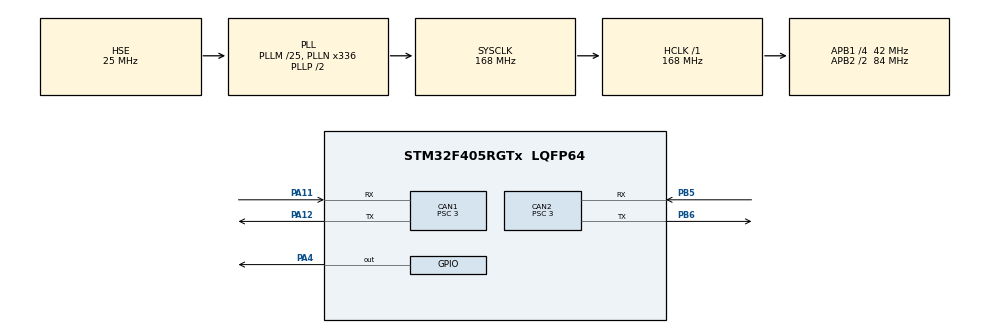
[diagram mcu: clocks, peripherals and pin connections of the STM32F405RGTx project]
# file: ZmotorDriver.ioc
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CAN1.BS1=CAN_BS1_9TQ
CAN1.BS2=CAN_BS2_4TQ
CAN1.CalculateBaudRate=1000000
CAN1.CalculateTimeBit=1000
CAN1.CalculateTimeQuantum=71.42857142857143
CAN1.Prescaler=3
CAN2.BS1=CAN_BS1_9TQ
CAN2.BS2=CAN_BS2_4TQ
CAN2.CalculateBaudRate=1000000
CAN2.CalculateTimeBit=1000
CAN2.CalculateTimeQuantum=71.42857142857143
CAN2.Prescaler=3
FREERTOS.Tasks01=defaultTask,24,128,StartDefaultTask,Default,NULL,Dynamic,NULL,NULL
Mcu.Family=STM32F4
Mcu.Name=STM32F405RGTx
Mcu.Package=LQFP64
NVIC.CAN1_RX0_IRQn=true\:5\:0\:false\:false\:true\:true\:true\:true\:true
NVIC.CAN1_RX1_IRQn=true\:5\:0\:false\:false\:true\:true\:true\:true\:true
NVIC.CAN1_SCE_IRQn=true\:5\:0\:false\:false\:true\:true\:true\:true\:true
NVIC.CAN1_TX_IRQn=true\:5\:0\:false\:false\:true\:true\:true\:true\:true
NVIC.CAN2_RX0_IRQn=true\:5\:0\:false\:false\:true\:true\:true\:true\:true
NVIC.CAN2_RX1_IRQn=true\:5\:0\:false\:false\:true\:true\:true\:true\:true
NVIC.CAN2_SCE_IRQn=true\:5\:0\:false\:false\:true\:true\:true\:true\:true
NVIC.CAN2_TX_IRQn=true\:5\:0\:false\:false\:true\:true\:true\:true\:true
NVIC.PriorityGroup=NVIC_PRIORITYGROUP_4
NVIC.TIM5_IRQn=true\:15\:0\:false\:false\:true\:false\:false\:true\:true
NVIC.TIM8_BRK_TIM12_IRQn=true\:5\:0\:false\:false\:true\:true\:true\:true\:true
NVIC.TIM8_CC_IRQn=true\:5\:0\:false\:false\:true\:true\:true\:true\:true
NVIC.TIM8_TRG_COM_TIM14_IRQn=true\:5\:0\:false\:false\:true\:true\:true\:true\:true
NVIC.TIM8_UP_TIM13_IRQn=true\:5\:0\:false\:false\:true\:true\:true\:true\:true
NVIC.TimeBase=TIM5_IRQn
NVIC.TimeBaseIP=TIM5
PA11.Mode=CAN_Activate
PA11.Signal=CAN1_RX
PA12.Mode=CAN_Activate
PA12.Signal=CAN1_TX
PA13.Mode=Serial_Wire
PA13.Signal=SYS_JTMS-SWDIO
PA14.Mode=Serial_Wire
PA14.Signal=SYS_JTCK-SWCLK
PA4.Signal=GPIO_Output
PB5.Mode=CAN_Activate
PB5.Signal=CAN2_RX
PB6.Mode=CAN_Activate
PB6.Signal=CAN2_TX
PH0-OSC_IN.Mode=HSE-External-Oscillator
PH0-OSC_IN.Signal=RCC_OSC_IN
PH1-OSC_OUT.Mode=HSE-External-Oscillator
PH1-OSC_OUT.Signal=RCC_OSC_OUT
ProjectManager.HeapSize=0x200
ProjectManager.StackSize=0x400
ProjectManager.TargetToolchain=MDK-ARM V5.32
RCC.48MHZClocksFreq_Value=84000000
RCC.AHBFreq_Value=168000000
RCC.APB1CLKDivider=RCC_HCLK_DIV4
RCC.APB1Freq_Value=42000000
RCC.APB1TimFreq_Value=84000000
RCC.APB2CLKDivider=RCC_HCLK_DIV2
RCC.APB2Freq_Value=84000000
RCC.APB2TimFreq_Value=168000000
RCC.CortexFreq_Value=168000000
RCC.HCLKFreq_Value=168000000
RCC.HSE_VALUE=25000000
RCC.HSI_VALUE=16000000
RCC.LSE_VALUE=32768
RCC.PLLM=25
RCC.PLLN=336
RCC.PLLSourceVirtual=RCC_PLLSOURCE_HSE
RCC.SYSCLKFreq_VALUE=168000000
RCC.SYSCLKSource=RCC_SYSCLKSOURCE_PLLCLK
RCC.VCOOutputFreq_Value=336000000
TIM8.Period=999
TIM8.Prescaler=167
VP_FREERTOS_VS_CMSIS_V2.Mode=CMSIS_V2
VP_SYS_VS_tim5.Mode=TIM5
VP_TIM8_VS_ClockSourceINT.Mode=Internal
board=custom

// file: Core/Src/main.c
/* USER CODE BEGIN Header */
/**
 ******************************************************************************
 * @file           : main.c
 * @brief          : Main program body
 ******************************************************************************
 * @attention
 *
 * Copyright (c) 2025 STMicroelectronics.
 * All rights reserved.
 *
 * This software is licensed under terms that can be found in the LICENSE file
 * in the root directory of this software component.
 * If no LICENSE file comes with this software, it is provided AS-IS.
 *
 ******************************************************************************
 */
/* USER CODE END Header */
#include "main.h"
#include "cmsis_os.h"
#include "can.h"
#include "tim.h"
#include "gpio.h"

/* USER CODE BEGIN Includes */
#include "zmotor.h"
#include "zcancommand.h"
#include "canqueue.h"
/* USER CODE END Includes */

void SystemClock_Config(void);
void MX_FREERTOS_Init(void);
/* USER CODE BEGIN PFP */
void LED_Pop()
{
  HAL_GPIO_TogglePin(GPIOA, GPIO_PIN_4);
}
/* USER CODE END PFP */

int main(void)
{

  /* MCU Configuration--------------------------------------------------------*/

  /* Reset of all peripherals, Initializes the Flash interface and the Systick. */
  HAL_Init();

  /* Configure the system clock */
  SystemClock_Config();

  /* Initialize all configured peripherals */
  MX_GPIO_Init();
  MX_CAN1_Init();
  MX_CAN2_Init();
  MX_TIM8_Init();
  /* USER CODE BEGIN 2 */
  ZMotor_init(zmotorp, 1);

  /* USER CODE END 2 */

  /* Init scheduler */
  osKernelInitialize(); /* Call init function for freertos objects (in cmsis_os2.c) */
  MX_FREERTOS_Init();

  /* Start scheduler */
  osKernelStart();

  /* We should never get here as control is now taken by the scheduler */

  /* Infinite loop */
  while (1)
  {

  }
}

void SystemClock_Config(void)
{
  RCC_OscInitTypeDef RCC_OscInitStruct = {0};
  RCC_ClkInitTypeDef RCC_ClkInitStruct = {0};

  /** Configure the main internal regulator output voltage
   */
  __HAL_RCC_PWR_CLK_ENABLE();
  __HAL_PWR_VOLTAGESCALING_CONFIG(PWR_REGULATOR_VOLTAGE_SCALE1);

  /** Initializes the RCC Oscillators according to the specified parameters
   * in the RCC_OscInitTypeDef structure.
   */
  RCC_OscInitStruct.OscillatorType = RCC_OSCILLATORTYPE_HSE;
  RCC_OscInitStruct.HSEState = RCC_HSE_ON;
  RCC_OscInitStruct.PLL.PLLState = RCC_PLL_ON;
  RCC_OscInitStruct.PLL.PLLSource = RCC_PLLSOURCE_HSE;
  RCC_OscInitStruct.PLL.PLLM = 25;
  RCC_OscInitStruct.PLL.PLLN = 336;
  RCC_OscInitStruct.PLL.PLLP = RCC_PLLP_DIV2;
  RCC_OscInitStruct.PLL.PLLQ = 4;
  if (HAL_RCC_OscConfig(&RCC_OscInitStruct) != HAL_OK)
  {
    Error_Handler();
  }

  /** Initializes the CPU, AHB and APB buses clocks
   */
  RCC_ClkInitStruct.ClockType = RCC_CLOCKTYPE_HCLK | RCC_CLOCKTYPE_SYSCLK | RCC_CLOCKTYPE_PCLK1 | RCC_CLOCKTYPE_PCLK2;
  RCC_ClkInitStruct.SYSCLKSource = RCC_SYSCLKSOURCE_PLLCLK;
  RCC_ClkInitStruct.AHBCLKDivider = RCC_SYSCLK_DIV1;
  RCC_ClkInitStruct.APB1CLKDivider = RCC_HCLK_DIV4;
  RCC_ClkInitStruct.APB2CLKDivider = RCC_HCLK_DIV2;

  if (HAL_RCC_ClockConfig(&RCC_ClkInitStruct, FLASH_LATENCY_5) != HAL_OK)
  {
    Error_Handler();
  }
}

/* USER CODE BEGIN 4 */
void HAL_CAN_RxFifo0MsgPendingCallback(CAN_HandleTypeDef *hcan)
{
  CAN_RxFrame frame;
  if (HAL_CAN_GetRxMessage(hcan, CAN_RX_FIFO0, &frame.CAN_RxHeader, frame.Data) == HAL_OK)
  {
    if (hcan->Instance == CAN1)
    {
      ZMotor_Update(&frame.CAN_RxHeader, frame.Data);
    }
  }
}
/* USER CODE END 4 */

void HAL_TIM_PeriodElapsedCallback(TIM_HandleTypeDef *htim)
{
  /* USER CODE BEGIN Callback 0 */
  static int ticktime;
  if (htim->Instance == TIM8)
  {
    if (ticktime == 10)
    {
      ZMotor_Func(zmotorp);
      ticktime = 0;
    }
    ticktime++;
    ZCAN_Send_Cmd();
  }
  /* USER CODE END Callback 0 */
  if (htim->Instance == TIM5)
  {
    HAL_IncTick();
  }
}

void Error_Handler(void)
{
  __disable_irq();
  while (1)
  {
  }
}

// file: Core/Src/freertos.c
/* USER CODE BEGIN Header */
/**
 ******************************************************************************
 * File Name          : freertos.c
 * Description        : Code for freertos applications
 ******************************************************************************
 * @attention
 *
 * Copyright (c) 2025 STMicroelectronics.
 * All rights reserved.
 *
 * This software is licensed under terms that can be found in the LICENSE file
 * in the root directory of this software component.
 * If no LICENSE file comes with this software, it is provided AS-IS.
 *
 ******************************************************************************
 */
/* USER CODE END Header */

#include "FreeRTOS.h"
#include "task.h"
#include "main.h"
#include "cmsis_os.h"

typedef StaticTask_t osStaticThreadDef_t;

/* Definitions for defaultTask */
osThreadId_t defaultTaskHandle;
const osThreadAttr_t defaultTask_attributes = {
    .name = "defaultTask",
    .stack_size = 128 * 4,
    .priority = (osPriority_t)osPriorityNormal,
};
/* Definitions for SendCommandTask */
osThreadId_t SendCommandTaskHandle;
uint32_t SendCommandTaskBuffer[256];
osStaticThreadDef_t SendCommandTaskControlBlock;
const osThreadAttr_t SendCommandTask_attributes = {
    .name = "SendCommandTask",
    .cb_mem = &SendCommandTaskControlBlock,
    .cb_size = sizeof(SendCommandTaskControlBlock),
    .stack_mem = &SendCommandTaskBuffer[0],
    .stack_size = sizeof(SendCommandTaskBuffer),
    .priority = (osPriority_t)osPriorityNormal,
};
/* Definitions for ReadCommandTask */
// osThreadId_t ReadCommandTaskHandle;
// uint32_t ReadCommandTaskBuffer[ 256 ];
// osStaticThreadDef_t ReadCommandTaskControlBlock;
// const osThreadAttr_t ReadCommandTask_attributes = {
//   .name = "ReadCommandTask",
//   .cb_mem = &ReadCommandTaskControlBlock,
//   .cb_size = sizeof(ReadCommandTaskControlBlock),
//   .stack_mem = &ReadCommandTaskBuffer[0],
//   .stack_size = sizeof(ReadCommandTaskBuffer),
//   .priority = (osPriority_t) osPriorityNormal,
// };

void StartDefaultTask(void *argument);
void Send_Command(void *argument);
// void Read_Command(void *argument);

void MX_FREERTOS_Init(void); /* (MISRA C 2004 rule 8.1) */

/* Hook prototypes */
void vApplicationMallocFailedHook(void);

/* USER CODE BEGIN 5 */
void vApplicationMallocFailedHook(void)
{
  /* vApplicationMallocFailedHook() will only be called if
  configUSE_MALLOC_FAILED_HOOK is set to 1 in FreeRTOSConfig.h. It is a hook
  function that will get called if a call to pvPortMalloc() fails.
  pvPortMalloc() is called internally by the kernel whenever a task, queue,
  timer or semaphore is created. It is also called by various parts of the
  demo application. If heap_1.c or heap_2.c are used, then the size of the
  heap available to pvPortMalloc() is defined by configTOTAL_HEAP_SIZE in
  FreeRTOSConfig.h, and the xPortGetFreeHeapSize() API function can be used
  to query the size of free heap space that remains (although it does not
  provide information on how the remaining heap might be fragmented). */
}
/* USER CODE END 5 */

void MX_FREERTOS_Init(void)
{

  /* Create the thread(s) */
  /* creation of defaultTask */
  defaultTaskHandle = osThreadNew(StartDefaultTask, NULL, &defaultTask_attributes);

  /* creation of SendCommandTask */
  SendCommandTaskHandle = osThreadNew(Send_Command, NULL, &SendCommandTask_attributes);

  /* creation of ReadCommandTask */
  // ReadCommandTaskHandle = osThreadNew(Read_Command, NULL, &ReadCommandTask_attributes);

}

void StartDefaultTask(void *argument)
{
  for (;;)
  {
    osDelay(1);
  }
}

__weak void Send_Command(void *argument)
{
  for (;;)
  {
    osDelay(1);
  }
}

// __weak void Read_Command(void *argument)
// {
//   /* USER CODE BEGIN Read_Command */
//   /* Infinite loop */
//   for (;;)
//   {
//     osDelay(1);
//   }
//   /* USER CODE END Read_Command */
// }
